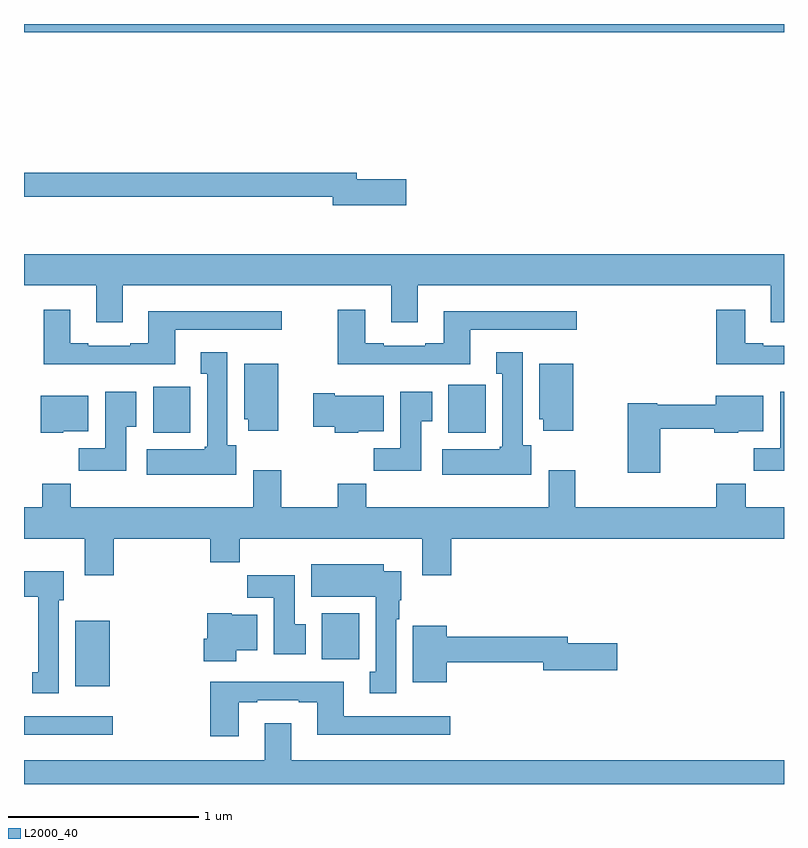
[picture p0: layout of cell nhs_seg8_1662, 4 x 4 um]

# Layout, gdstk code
import gdstk
lib = gdstk.Library(unit=1e-6, precision=1e-09)
def R(c, l, rs):  # rectangles x0, y0, x1, y1
    for r in rs: c.add(gdstk.rectangle(r[:2], r[2:], *l))
def P(c, l, *ps):  # polygons
    for p in ps: c.add(gdstk.Polygon(p, *l))
L2000_40 = (2000, 40)

nhs_seg8_1662 = lib.new_cell('nhs_seg8_1662')
R(nhs_seg8_1662, L2000_40, [(217,1090.16,217.468,1090.257), (217.271,1090.415,217.45,1090.759), (218.567,1090.556,218.764,1090.798), (217.679,1091.75,217.876,1091.992), (219.233,1091.75,219.429,1092.001), (217,1093.856,221,1093.9)])
P(nhs_seg8_1662, L2000_40, [(219.013,1093.082),(218.752,1093.082),(218.752,1093.118),(217,1093.118),(217,1092.99),(218.624,1092.99),(218.624,1092.947),(219.013,1092.947)],
  [(217.519,1092.524),(218.933,1092.524),(218.933,1092.33),(219.073,1092.33),(219.073,1092.524),(220.931,1092.524),(220.931,1092.33),(221,1092.33),(221,1092.688),(217,1092.688),(217,1092.524),(217.379,1092.524),(217.379,1092.33),(217.519,1092.33)],
  [(217.795,1092.291),(218.356,1092.291),(218.356,1092.388),(217.655,1092.388),(217.655,1092.22),(217.559,1092.22),(217.559,1092.207),(217.339,1092.207),(217.339,1092.22),(217.243,1092.22),(217.243,1092.397),(217.103,1092.397),(217.103,1092.11),(217.795,1092.11)],
  [(221,1092.207),(220.891,1092.207),(220.891,1092.22),(220.795,1092.22),(220.795,1092.397),(220.643,1092.397),(220.643,1092.11),(221,1092.11)],
  [(219.349,1092.291),(219.91,1092.291),(219.91,1092.388),(219.209,1092.388),(219.209,1092.22),(219.113,1092.22),(219.113,1092.207),(218.893,1092.207),(218.893,1092.22),(218.797,1092.22),(218.797,1092.397),(218.65,1092.397),(218.65,1092.11),(219.349,1092.11)],
  [(219.67,1091.682),(219.625,1091.682),(219.625,1092.172),(219.485,1092.172),(219.485,1092.059),(219.518,1092.059),(219.518,1091.676),(219.505,1091.676),(219.505,1091.662),(219.201,1091.662),(219.201,1091.528),(219.67,1091.528)],
  [(218.116,1091.682),(218.071,1091.682),(218.071,1092.172),(217.931,1092.172),(217.931,1092.059),(217.964,1092.059),(217.964,1091.676),(217.951,1091.676),(217.951,1091.662),(217.647,1091.662),(217.647,1091.528),(218.116,1091.528)],
  [(218.338,1092.112),(218.159,1092.112),(218.159,1091.82),(218.18,1091.82),(218.18,1091.76),(218.338,1091.76)],
  [(219.892,1092.112),(219.713,1092.112),(219.713,1091.82),(219.734,1091.82),(219.734,1091.76),(219.892,1091.76)],
  [(217.537,1091.78),(217.591,1091.78),(217.591,1091.965),(217.427,1091.965),(217.427,1091.668),(217.288,1091.668),(217.288,1091.55),(217.537,1091.55)],
  [(219.091,1091.809),(219.148,1091.809),(219.148,1091.965),(218.981,1091.965),(218.981,1091.668),(218.842,1091.668),(218.842,1091.55),(219.091,1091.55)],
  [(221,1091.965),(220.979,1091.965),(220.979,1091.668),(220.84,1091.668),(220.84,1091.55),(221,1091.55)],
  [(218.76,1091.756),(218.893,1091.756),(218.893,1091.944),(218.635,1091.944),(218.635,1091.957),(218.523,1091.957),(218.523,1091.779),(218.635,1091.779),(218.635,1091.75),(218.76,1091.75)],
  [(220.349,1091.769),(220.633,1091.769),(220.633,1091.75),(220.758,1091.75),(220.758,1091.756),(220.891,1091.756),(220.891,1091.944),(220.64,1091.944),(220.64,1091.897),(220.332,1091.897),(220.332,1091.905),(220.178,1091.905),(220.178,1091.538),(220.349,1091.538)],
  [(217.206,1091.756),(217.339,1091.756),(217.339,1091.944),(217.088,1091.944),(217.088,1091.75),(217.206,1091.75)],
  [(217.472,1091.192),(217.979,1091.192),(217.979,1091.068),(218.135,1091.068),(218.135,1091.192),(219.095,1091.192),(219.095,1090.998),(219.248,1090.998),(219.248,1091.192),(221,1091.192),(221,1091.356),(220.799,1091.356),(220.799,1091.48),(220.643,1091.48),(220.643,1091.356),(219.901,1091.356),(219.901,1091.551),(219.761,1091.551),(219.761,1091.356),(218.801,1091.356),(218.801,1091.48),(218.65,1091.48),(218.65,1091.356),(218.355,1091.356),(218.355,1091.551),(218.207,1091.551),(218.207,1091.356),(217.247,1091.356),(217.247,1091.48),(217.096,1091.48),(217.096,1091.356),(217,1091.356),(217,1091.192),(217.319,1091.192),(217.319,1090.998),(217.472,1090.998)],
  [(218.959,1090.766),(218.974,1090.766),(218.974,1090.866),(218.986,1090.866),(218.986,1091.02),(218.893,1091.02),(218.893,1091.056),(218.513,1091.056),(218.513,1090.886),(218.852,1090.886),(218.852,1090.49),(218.819,1090.49),(218.819,1090.377),(218.959,1090.377)],
  [(217.183,1090.866),(217.21,1090.866),(217.21,1091.02),(217,1091.02),(217,1090.886),(217.076,1090.886),(217.076,1090.489),(217.043,1090.489),(217.043,1090.377),(217.183,1090.377)],
  [(218.482,1090.74),(218.425,1090.74),(218.425,1090.998),(218.176,1090.998),(218.176,1090.88),(218.315,1090.88),(218.315,1090.584),(218.482,1090.584)],
  [(218.116,1090.604),(218.227,1090.604),(218.227,1090.792),(218.094,1090.792),(218.094,1090.798),(217.964,1090.798),(217.964,1090.665),(217.946,1090.665),(217.946,1090.547),(218.116,1090.547)],
  [(219.226,1090.54),(219.734,1090.54),(219.734,1090.498),(220.123,1090.498),(220.123,1090.64),(219.862,1090.64),(219.862,1090.676),(219.226,1090.676),(219.226,1090.732),(219.047,1090.732),(219.047,1090.436),(219.226,1090.436)],
  [(218.131,1090.329),(218.227,1090.329),(218.227,1090.341),(218.447,1090.341),(218.447,1090.329),(218.543,1090.329),(218.543,1090.16),(219.244,1090.16),(219.244,1090.257),(218.683,1090.257),(218.683,1090.438),(217.979,1090.438),(217.979,1090.152),(218.131,1090.152)],
  [(221,1090.024),(218.407,1090.024),(218.407,1090.219),(218.267,1090.219),(218.267,1090.024),(217,1090.024),(217,1089.9),(221,1089.9)])

lib.write_gds('nhs_seg8_1662.gds')
